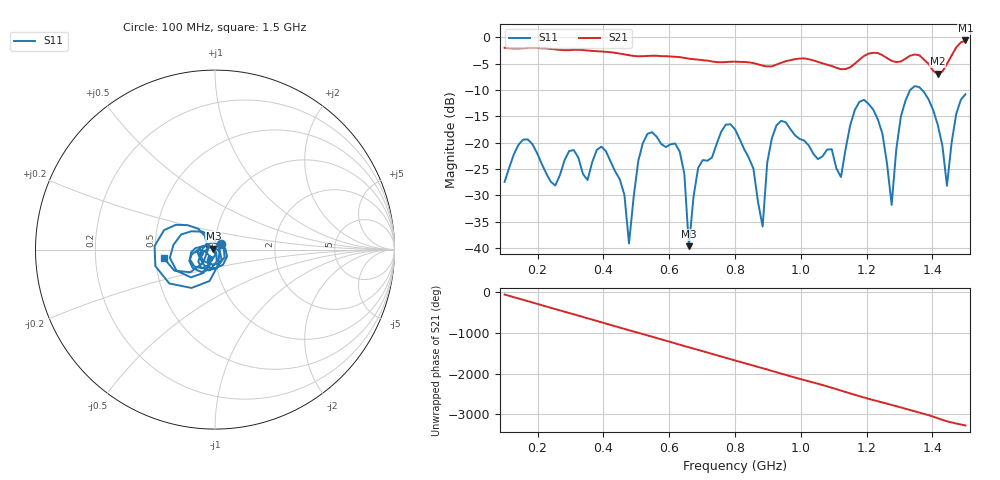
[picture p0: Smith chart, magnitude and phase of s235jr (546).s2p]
! NanoVNA-App
! Date: 2025-09-25 15:08:25
! Start: 100MHz Stop: 1,5GHz Points: 101
! S-Parameter data: F S11 S21 S12 S22
# Hz S RI R 50
!  Frequency  S11_Real  S11_Imag  S21_Real  S21_Imag  S12_Real  S12_Imag  S22_Real  S22_Imag
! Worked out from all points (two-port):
!   101 points, 100 MHz to 1.5 GHz, reference 50 ohm
!   highest |S21| = -0.56 dB at 1.5 GHz (marker M1); lowest = -6.9 dB at 1.416 GHz (marker M2)
!   |S21| within 3 dB of the highest: start of sweep to 503 MHz; 515.2 MHz to 593.1 MHz (77.88 MHz wide, 14.1 % of centre) (the widest 2 of 5)
!   lowest |S11| = -39.7 dB at 660 MHz (marker M3), VSWR 1.02, Z = 49.2 + j0.589 ohm
!   |S11| at or under -10 dB: start of sweep to 1.332 GHz; 1.369 GHz to end of sweep
!   S12 and S22 are empty: the file has one direction only
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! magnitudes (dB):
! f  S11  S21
! 100 MHz  -27.5  -2.0
! 156 MHz  -19.4  -2.0
! 338 MHz  -26.0  -2.4
! 408 MHz  -21.6  -2.7
! 478 MHz  -39.2  -3.4
! 520 MHz  -20.1  -3.6
! 576 MHz  -20.3  -3.5
! 632 MHz  -21.7  -3.7
! 660 MHz  -39.7  -4.0
! 688 MHz  -24.8  -4.2
! 800 MHz  -17.5  -4.6
! 884 MHz  -36.0  -5.4
! 926 MHz  -16.7  -5.1
! 1.038 GHz  -22.1  -4.3
! 1.122 GHz  -26.5  -6.0
! 1.192 GHz  -11.9  -3.5
! 1.248 GHz  -18.3  -3.4
! 1.276 GHz  -31.8  -4.4
! 1.332 GHz  -10.0  -3.5
! 1.416 GHz  -16.6  -6.9
! 1.444 GHz  -28.2  -5.0
! 1.5 GHz  -10.8  -0.6
